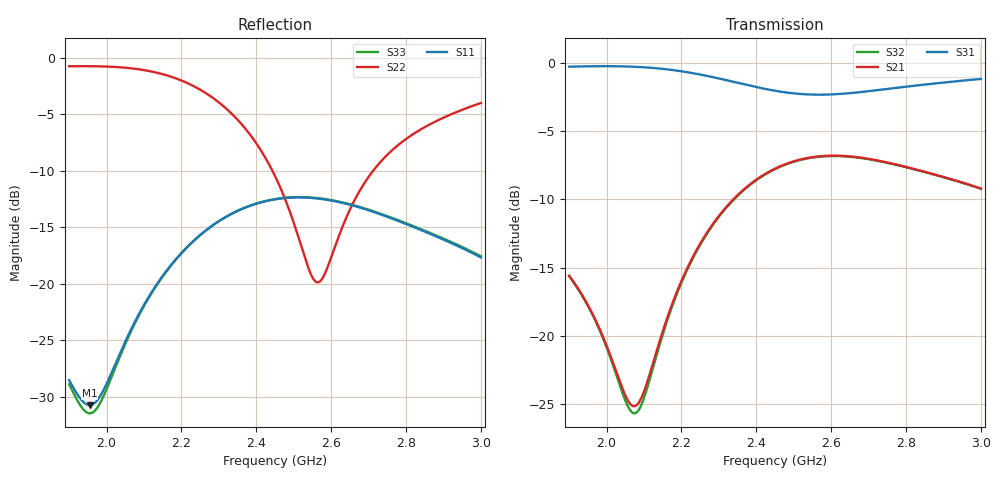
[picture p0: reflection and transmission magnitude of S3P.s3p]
! C23 board, ports J2 L2 L3
# Hz S RI R 50
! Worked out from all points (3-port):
!   1101 points, 1.9 GHz to 3 GHz, reference 50 ohm
!   strongest paths, dB at 1.9 GHz, 2.175 GHz, 2.45 GHz, 2.725 GHz, 3 GHz:
!     S31: -0.3, -0.5, -2.0, -2.0, -1.2
!     S21: -15.6, -17.7, -7.7, -7.1, -9.2
!     S32: -15.6, -17.8, -7.8, -7.2, -9.2
!   lowest |S11| = -30.7 dB at 1.955 GHz (marker M1), VSWR 1.06, Z = 47.2 + j0.412 ohm
!   |S11| at or under -10 dB: start of sweep to end of sweep
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1.9e9  -0.0271 0.026  -0.04 0.1614  0.9587 -0.1369
       -0.0397 0.1615  0.8669 0.3002  -0.0511 0.1577
       0.9587 -0.1368  -0.0502 0.1582  -0.0289 0.0214
1.955e9  -0.0288 0.00437  -0.0345 0.1214  0.9582 -0.1634
         -0.0343 0.1215  0.8908 0.2224  -0.0423 0.118
         0.958 -0.1633  -0.0416 0.1183  -0.0268 -0.000606
2.08e9  -0.0504 -0.0489  -0.0536 0.0158  0.9401 -0.2296
        -0.0535 0.016  0.8925 0.00688  -0.0513 0.0102
        0.9395 -0.2292  -0.0514 0.0107  -0.0379 -0.0579
2.247e9  -0.1336 -0.0932  -0.1912 -0.097  0.8597 -0.2974
         -0.1911 -0.0967  0.6743 -0.2739  -0.1761 -0.1184
         0.8586 -0.2963  -0.1771 -0.1167  -0.1096 -0.1202
2.347e9  -0.1948 -0.0765  -0.313 -0.0882  0.7955 -0.297
         -0.3129 -0.0878  0.4369 -0.3153  -0.2981 -0.1249
         0.7944 -0.2952  -0.2993 -0.1221  -0.1726 -0.1187
2.45e9  -0.2352 -0.0264  -0.4102 -0.00727  0.7477 -0.2614
        -0.41 -0.00676  0.2144 -0.2101  -0.4044 -0.0575
        0.747 -0.2591  -0.4049 -0.0537  -0.2231 -0.0806
2.567e9  -0.235 0.0401  -0.438 0.1233  0.7374 -0.2061
         -0.4376 0.1238  0.1001 0.0188  -0.4484 0.0667
         0.7373 -0.2037  -0.4478 0.071  -0.2386 -0.0179
2.662e9  -0.2073 0.0776  -0.4012 0.2108  0.758 -0.1741
         -0.4007 0.2113  0.1268 0.1965  -0.4237 0.1565
         0.7584 -0.1718  -0.4222 0.1607  -0.2212 0.0236
2.734e9  -0.1806 0.0916  -0.3562 0.2528  0.7809 -0.1632
         -0.3557 0.2532  0.1898 0.2935  -0.3853 0.2027
         0.7814 -0.1612  -0.3833 0.2067  -0.1993 0.0426
3e9  -0.1022 0.0818  -0.1972 0.2855  0.8535 -0.1855
     -0.1966 0.2857  0.4668 0.4245  -0.235 0.2539
     0.854 -0.1842  -0.2322 0.2565  -0.1224 0.0508
